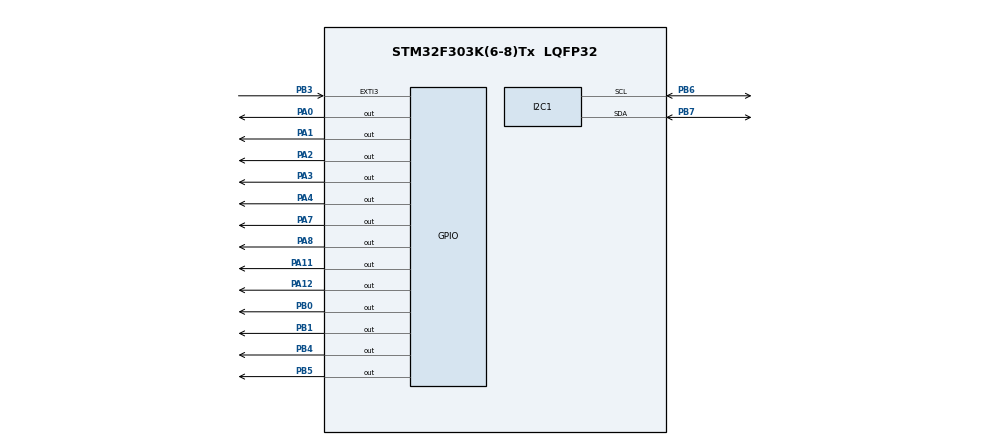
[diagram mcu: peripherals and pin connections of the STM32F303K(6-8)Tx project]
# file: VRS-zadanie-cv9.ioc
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I2C1.OwnAddress=1
Mcu.Family=STM32F3
Mcu.Name=STM32F303K(6-8)Tx
Mcu.Package=LQFP32
NVIC.EXTI3_IRQn=true\:1\:0\:true\:false\:true\:true\:false
NVIC.I2C1_EV_IRQn=true\:0\:0\:false\:false\:true\:true\:false
NVIC.PriorityGroup=NVIC_PRIORITYGROUP_4
NVIC.TIM3_IRQn=true\:15\:0\:true\:false\:true\:true\:false
PA0.Signal=GPIO_Output
PA1.Signal=GPIO_Output
PA11.Signal=GPIO_Output
PA12.Signal=GPIO_Output
PA2.Signal=GPIO_Output
PA3.Signal=GPIO_Output
PA4.Signal=GPIO_Output
PA7.Signal=GPIO_Output
PA8.Signal=GPIO_Output
PB0.Signal=GPIO_Output
PB1.Signal=GPIO_Output
PB3.GPIO_ModeDefaultEXTI=GPIO_MODE_IT_FALLING
PB3.GPIO_PuPd=GPIO_PULLUP
PB3.Signal=GPXTI3
PB4.Signal=GPIO_Output
PB5.Signal=GPIO_Output
PB6.GPIO_Pu=GPIO_PULLUP
PB6.Mode=I2C
PB6.Signal=I2C1_SCL
PB7.GPIO_Pu=GPIO_PULLUP
PB7.Mode=I2C
PB7.Signal=I2C1_SDA
ProjectManager.HeapSize=0x200
ProjectManager.StackSize=0x400
ProjectManager.TargetToolchain=STM32CubeIDE
RCC.AHBFreq_Value=8000000
RCC.APB1Freq_Value=8000000
RCC.APB2Freq_Value=8000000
RCC.CortexFreq_Value=8000000
RCC.HSE_VALUE=8000000
RCC.HSI_VALUE=8000000
RCC.SYSCLKFreq_VALUE=8000000
TIM3.AutoReloadPreload=TIM_AUTORELOAD_PRELOAD_ENABLE
TIM3.Channel-Output\ Compare1\ No\ Output=TIM_CHANNEL_1
TIM3.OCMode_1=TIM_OCMODE_ACTIVE
TIM3.Period=19
TIM3.Prescaler=7999
VP_TIM3_VS_ClockSourceINT.Mode=Internal
VP_TIM3_VS_no_output1.Mode=Output Compare1 No Output
board=custom

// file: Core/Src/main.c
/* USER CODE BEGIN Header */
/**
  ******************************************************************************
  * @file           : main.c
  * @brief          : Main program body
  ******************************************************************************
  * @attention
  *
  * <h2><center>&copy; Copyright (c) 2021 STMicroelectronics.
  * All rights reserved.</center></h2>
  *
  * This software component is licensed by ST under BSD 3-Clause license,
  * the "License"; You may not use this file except in compliance with the
  * License. You may obtain a copy of the License at:
  *                        opensource.org/licenses/BSD-3-Clause
  *
  ******************************************************************************
  */
/* USER CODE END Header */
#include "main.h"
#include "i2c.h"
#include "tim.h"
#include "gpio.h"

/* USER CODE BEGIN Includes */
#include "display.h"
#include"iks01a1.h"
#include"stdio.h"
/* USER CODE END Includes */

/* USER CODE BEGIN PV */
uint8_t mode, error;
extern uint64_t disp_time;
uint64_t saved_time;
char display_text [100];
int act_index=0, right=1,index_for_dot=0;
float humidity, temperature, pressure, altitude;
/* USER CODE END PV */

void SystemClock_Config(void);

int main(void)
{

  /* MCU Configuration--------------------------------------------------------*/

  /* Reset of all peripherals, Initializes the Flash interface and the Systick. */

  LL_APB2_GRP1_EnableClock(LL_APB2_GRP1_PERIPH_SYSCFG);
  LL_APB1_GRP1_EnableClock(LL_APB1_GRP1_PERIPH_PWR);

  NVIC_SetPriorityGrouping(NVIC_PRIORITYGROUP_4);

  /* System interrupt init*/

  /* Configure the system clock */
  SystemClock_Config();

  /* USER CODE BEGIN SysInit */
  Systick_Init();
  /* USER CODE END SysInit */

  /* Initialize all configured peripherals */
  MX_GPIO_Init();
  MX_I2C1_Init();
  MX_TIM3_Init();
  /* USER CODE BEGIN 2 */
  error = 0;
  if(!iks01a1_init()) error = 1;

  setSegments();
  setDigits();
  LL_mDelay(2000);
  resetDigits();
  resetSegments();

  mode = 0;
  /* USER CODE END 2 */

  /* Infinite loop */
  /* USER CODE BEGIN WHILE */
  while (1)
  {
	  if(error) { //value from who am I register is no correct
		  strcpy(display_text,"I2C_who_am_I_error\0");
	  } else{
		  read_sensors_values();

		  if (mode == 0 && act_index == 0) { //data to display
			  if(temperature>=100){
				temperature=99.9;
			  }
			  if(temperature<=-100){
				temperature=-99.9;
			  }
			  sprintf(display_text, "TEMP_%2.1f", temperature);

		      for(int i=0; i<strlen(display_text); i++){
		          if(display_text[i]=='.'){
		              display_text[i] = display_text[i+1];
		              display_text[i+1] = '\0';
		          }
		      }
		      index_for_dot=strlen(display_text)-1;
		   }

		   if (mode == 1 && act_index == 0){
			  if(humidity>=100){
				humidity=99;
			  }
			  if(humidity<0){
				humidity = 0;
			  }
			  sprintf(display_text, "HUM_%2.0f", humidity);
			  index_for_dot=100;
		   }

		   if (mode == 2 && act_index == 0){
			  if(pressure>=10000){
				pressure=9999.99;
			  }
			  if(pressure<0){
				pressure = 0;
			  }
			  sprintf(display_text, "BAR_%4.2f", pressure);

		      for(int i=0; i<strlen(display_text); i++){
		          if(display_text[i]=='.'){
		              display_text[i] = display_text[i+1];
		              display_text[i+1] = display_text[i+2];
		              display_text[i+2] = '\0';
		          }
		      }
		      index_for_dot=strlen(display_text)-2;
		   }

		   if(mode == 3 && act_index == 0){
			  if(altitude>=10000){
				altitude = 9999.9;
			  }
			  if(altitude<=-10000){
				altitude = -9999.9;
			  }
			  sprintf(display_text, "ALT_%4.1f", altitude);

		      for(int i=0; i<strlen(display_text); i++){
		          if(display_text[i]=='.'){
		              display_text[i] = display_text[i+1];
		              display_text[i+1] = '\0';
		          }
		      }
		      index_for_dot=strlen(display_text)-1;
		   }
	  }

	  if(disp_time > (saved_time + 500)) //moving characters on display
	  	  {

	  		  display_sign(display_text[act_index],display_text[act_index+1],display_text[act_index+2],display_text[act_index+3],index_for_dot,act_index);
	  	  	  saved_time = disp_time;

	  	  	  if(right){ //urcovanie smeru
	  	  		  act_index++;
	  	  	  } else {
	  	  		  act_index--;
	  	  	  }
	  	  	  if(act_index == strlen(display_text)-4) {
	  	  		  right = 0;
	  	  	  }
	  	  	  if (act_index == 0){
	  	  		  right = 1;
	  	  	  }

	  	  }
    /* USER CODE END WHILE */

  }
}

void SystemClock_Config(void)
{
  LL_FLASH_SetLatency(LL_FLASH_LATENCY_0);
  while(LL_FLASH_GetLatency()!= LL_FLASH_LATENCY_0)
  {
  }
  LL_RCC_HSI_Enable();

   /* Wait till HSI is ready */
  while(LL_RCC_HSI_IsReady() != 1)
  {

  }
  LL_RCC_HSI_SetCalibTrimming(16);
  LL_RCC_SetAHBPrescaler(LL_RCC_SYSCLK_DIV_1);
  LL_RCC_SetAPB1Prescaler(LL_RCC_APB1_DIV_1);
  LL_RCC_SetAPB2Prescaler(LL_RCC_APB2_DIV_1);
  LL_RCC_SetSysClkSource(LL_RCC_SYS_CLKSOURCE_HSI);

   /* Wait till System clock is ready */
  while(LL_RCC_GetSysClkSource() != LL_RCC_SYS_CLKSOURCE_STATUS_HSI)
  {

  }
  LL_Init1msTick(8000000);
  LL_SetSystemCoreClock(8000000);
  LL_RCC_SetI2CClockSource(LL_RCC_I2C1_CLKSOURCE_HSI);
}

/* USER CODE BEGIN 4 */
uint8_t checkButtonState(GPIO_TypeDef* PORT, uint8_t PIN, uint8_t edge, uint16_t samples_window, uint16_t samples_required)
{
	//type your code for "checkButtonState" implementation here:
	uint16_t detection = 0, timeout = 0;
	while(timeout <= samples_window){ // cyklus bezi pokial nedocita potrebny pocet vzoriek a ak nahodou nastane detekcia funkcia sa ukonci a vrati 1
		uint8_t actual_value = BUTTON_READ_VALUE;
		if((actual_value && edge) || (!(actual_value) && !(edge))) {
			detection++;
		}
		else{
			detection = 0;
		}

		timeout++;

		if(detection == samples_required){
			return 1;
		}
	}
	if (((timeout > samples_window) && (detection != samples_required))){ //ak cyklus dobehol a nenapocitali sme dostatocny pocet vzoriek iducich po sebe vrati 0
		return 0;
	}
	return 0;
}

void read_sensors_values(void) {
	hts221_start_measurement();
	lps25hb_start_measurement();
	hts221_get_humidity(&humidity);
	hts221_get_temperature(&temperature);
	lps25hb_get_pressure(&pressure);
	lps25hb_start_measurement();
	lps25hb_get_altitude(&altitude);

}
/* USER CODE END 4 */

void Error_Handler(void)
{
  __disable_irq();
  while (1)
  {
  }
}

/************************ (C) COPYRIGHT STMicroelectronics *****END OF FILE****/
